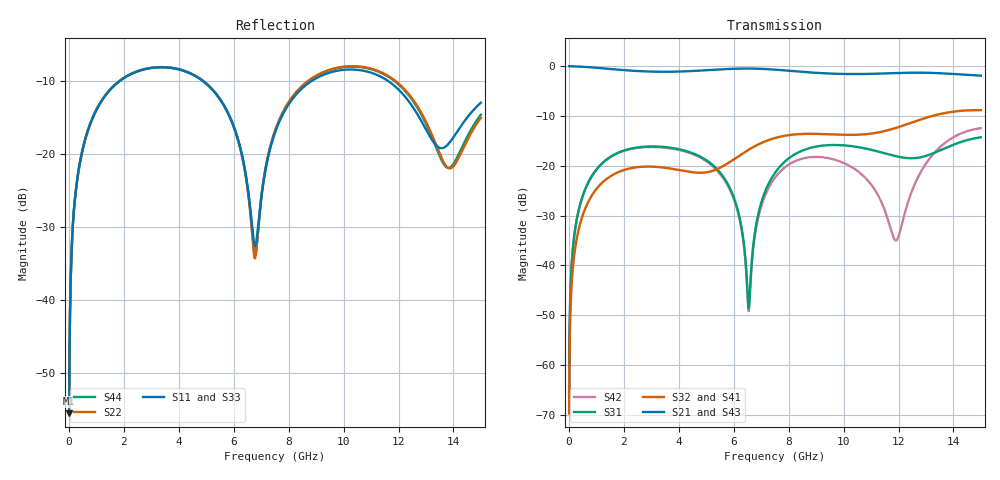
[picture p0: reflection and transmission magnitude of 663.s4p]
! Created with skrf 1.8.0 (http://scikit-rf.org).
# GHz S RI R 50.0
!freq ReS11 ImS11 ReS12 ImS12 ReS13 ImS13
! ReS14 ImS14
! ReS21 ImS21 ReS22 ImS22 ReS23 ImS23
! ReS24 ImS24
! ReS31 ImS31 ReS32 ImS32 ReS33 ImS33
! ReS34 ImS34
! ReS41 ImS41 ReS42 ImS42 ReS43 ImS43
! ReS44 ImS44
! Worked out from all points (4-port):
!   2499 points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, 5 MHz to 15 GHz, reference 50 ohm
!   strongest paths, dB at 5 MHz, 3.476 GHz, 7.19 GHz, 11.1 GHz, 15 GHz:
!     S21: 0.0, -1.1, -0.6, -1.5, -1.9
!     S43: 0.0, -1.1, -0.6, -1.5, -1.9
!     S32: -69.7, -20.4, -15.0, -13.5, -8.8
!     S41: -69.7, -20.4, -15.0, -13.5, -8.8
!     S31: -65.7, -16.2, -24.5, -16.9, -14.3
!     S42: -65.7, -16.4, -25.4, -24.5, -12.4
!   lowest |S11| = -55.6 dB at 5 MHz (marker M1), VSWR 1.00, Z = 50.1 + j0.101 ohm
!   |S11| at or under -10 dB: start of sweep to 1.837 GHz; 4.884 GHz to 8.827 GHz (3.944 GHz wide, 57.5 % of centre); 11.63 GHz to end of sweep
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0.005  0.00133 0.00101  0.9986 -0.00258  6.53e-05 0.000513  -6.35e-05 -0.000323
       0.9986 -0.00258  0.00133 0.00101  -6.35e-05 -0.000323  6.52e-05 0.000513
       6.53e-05 0.000513  -6.35e-05 -0.000323  0.00133 0.00101  0.9986 -0.00258
       -6.35e-05 -0.000323  6.52e-05 0.000513  0.9986 -0.00258  0.00133 0.00101
0.4126719  0.0256 0.0866  0.9646 -0.2107  0.0121 0.0398  -0.00993 -0.0247
           0.9646 -0.2107  0.0256 0.0866  -0.00993 -0.0247  0.0118 0.0399
           0.0121 0.0398  -0.00993 -0.0247  0.0256 0.0866  0.9646 -0.2107
           -0.00993 -0.0247  0.0118 0.0399  0.9646 -0.2107  0.0256 0.0866
2.025844  0.286 0.1738  0.5134 -0.7516  0.133 0.0527  -0.0912 -0.000112
          0.5134 -0.7516  0.2871 0.173  -0.0912 -0.000142  0.1297 0.0576
          0.133 0.0527  -0.0912 -0.000142  0.2861 0.1738  0.5133 -0.7516
          -0.0912 -0.000112  0.1297 0.0576  0.5133 -0.7516  0.2872 0.173
6.765319  0.0234 -0.00251  -0.941 -0.0688  0.0108 0.018  -0.00669 0.157
          -0.941 -0.0688  0.0192 -0.00114  -0.00723 0.157  -0.000151 0.0194
          0.0108 0.018  -0.00723 0.157  0.0226 -0.00452  -0.941 -0.0691
          -0.00669 0.157  -0.000151 0.0194  -0.941 -0.0691  0.0203 -0.00305
10.76699  0.3684 -0.0487  0.1058 0.8274  0.0515 -0.1405  0.1983 -0.0599
          0.1058 0.8274  0.3878 -0.0711  0.1984 -0.0589  0.0611 -0.0468
          0.0515 -0.1405  0.1984 -0.0589  0.3656 -0.0484  0.1075 0.8283
          0.1983 -0.0599  0.0611 -0.0468  0.1075 0.8283  0.3848 -0.0721
11.91747  0.2504 -0.1397  0.5028 0.6878  -0.0728 -0.1012  0.1915 -0.1457
          0.5028 0.6878  0.2584 -0.1787  0.1922 -0.1444  -0.0148 -0.00989
          -0.0728 -0.1012  0.1922 -0.1444  0.2464 -0.1382  0.5058 0.6871
          0.1915 -0.1457  -0.0148 -0.00989  0.5058 0.6871  0.2548 -0.177
15  0.2058 0.0918  0.7091 -0.3746  0.1316 0.1417  -0.2157 -0.2902
    0.7091 -0.3746  0.1549 0.0867  -0.2136 -0.2917  0.1999 0.1302
    0.1316 0.1417  -0.2136 -0.2917  0.2094 0.1002  0.7046 -0.3791
    -0.2157 -0.2902  0.1999 0.1302  0.7046 -0.3791  0.162 0.0919
